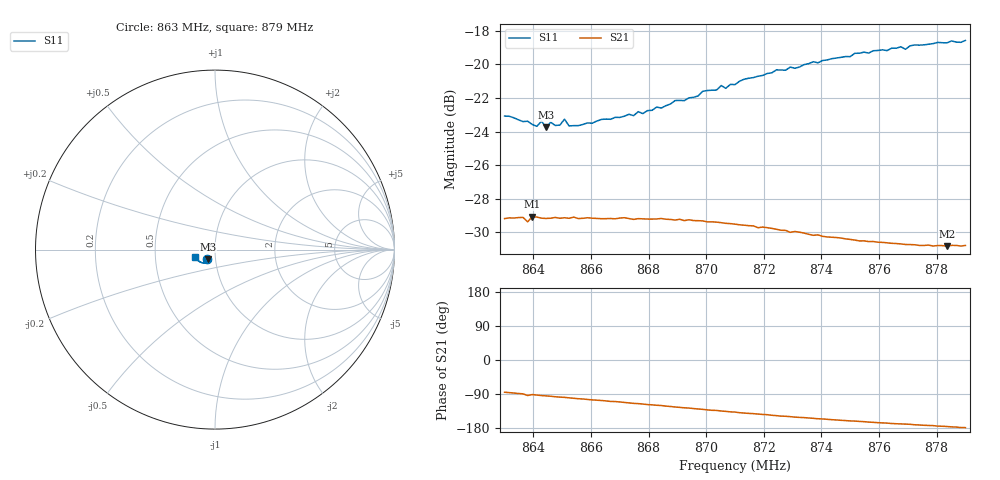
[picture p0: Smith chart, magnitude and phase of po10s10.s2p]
# HZ S RI R 50
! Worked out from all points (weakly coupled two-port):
!   101 points, 863 MHz to 879 MHz, reference 50 ohm
!   highest |S21| = -29.07 dB at 863.96 MHz (marker M1); lowest = -30.8 dB at 878.36 MHz (marker M2)
!   lowest |S11| = -23.7 dB at 864.44 MHz (marker M3), VSWR 1.14, Z = 46.1 - j4.85 ohm
!   |S11| at or under -10 dB: start of sweep to end of sweep
!   S12 and S22 are empty: the file has one direction only
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8.63e8  -0.0454 -0.0535  0.003 -0.0346  0 0  0 0
8.6364e8  -0.0411 -0.0536  0.000414 -0.035  0 0  0 0
8.638e8  -0.0414 -0.0536  -0.00221 -0.0339  0 0  0 0
8.6396e8  -0.0409 -0.0521  -0.000763 -0.0352  0 0  0 0
8.6412e8  -0.0394 -0.0522  -0.00153 -0.0351  0 0  0 0
8.6428e8  -0.0393 -0.0552  -0.00237 -0.0347  0 0  0 0
8.6444e8  -0.0384 -0.0524  -0.00285 -0.0346  0 0  0 0
8.646e8  -0.0392 -0.0547  -0.00342 -0.0346  0 0  0 0
8.6492e8  -0.0377 -0.0542  -0.0048 -0.0345  0 0  0 0
8.6508e8  -0.0399 -0.0559  -0.00526 -0.0345  0 0  0 0
8.6524e8  -0.0361 -0.0547  -0.00597 -0.0343  0 0  0 0
8.6572e8  -0.0345 -0.0566  -0.00774 -0.0339  0 0  0 0
8.6844e8  -0.0351 -0.0653  -0.0174 -0.0301  0 0  0 0
8.6892e8  -0.0381 -0.0681  -0.0193 -0.0285  0 0  0 0
8.6972e8  -0.0394 -0.0703  -0.0217 -0.0265  0 0  0 0
8.6988e8  -0.0405 -0.0726  -0.0221 -0.0261  0 0  0 0
8.71e8  -0.047 -0.0733  -0.0246 -0.0226  0 0  0 0
8.7132e8  -0.0502 -0.0752  -0.0254 -0.0213  0 0  0 0
8.7372e8  -0.0694 -0.0746  -0.0278 -0.0136  0 0  0 0
8.7644e8  -0.0932 -0.0618  -0.0286 -0.00629  0 0  0 0
8.7836e8  -0.1068 -0.0452  -0.0286 -0.00225  0 0  0 0
8.79e8  -0.1112 -0.0392  -0.0289 -0.000799  0 0  0 0
